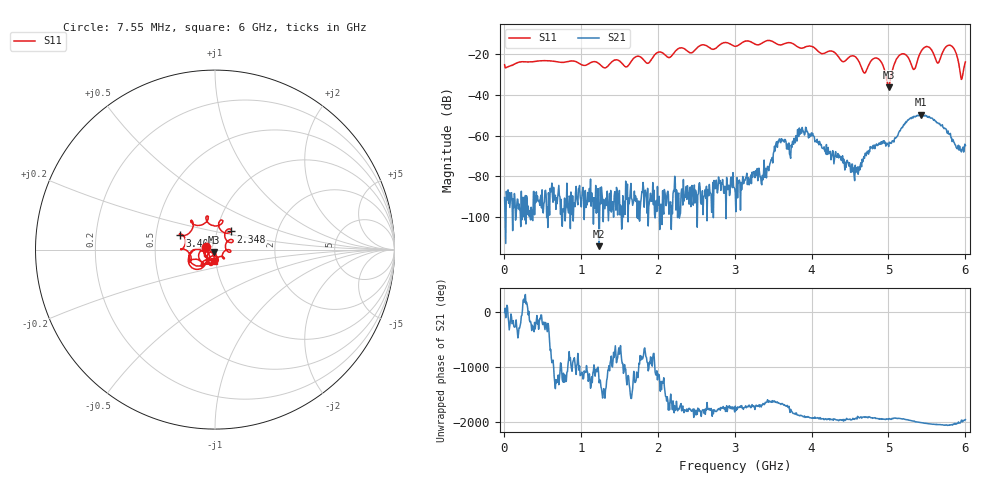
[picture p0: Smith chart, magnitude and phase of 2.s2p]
! NanoVNA-App by OneOfEleven et al v1.1.209 (+OD15)
! Date: 2024-07-30 12:38:50
! Start: 50kHz Stop: 6GHz Points: 801
! S-Parameter data: F S11 S21 S12 S22
# Hz S RI R 50
!  Frequency  S11_Real  S11_Imag  S21_Real  S21_Imag  S12_Real  S12_Imag  S22_Real  S22_Imag
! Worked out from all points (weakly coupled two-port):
!   800 points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, 7.55 MHz to 6 GHz, reference 50 ohm
!   highest |S21| = -49.65 dB at 5.423 GHz (marker M1); lowest = -114.2 dB at 1.238 GHz (marker M2)
!   lowest |S11| = -36.3 dB at 5.003 GHz (marker M3), VSWR 1.03, Z = 49.4 - j1.39 ohm
!   |S11| at or under -10 dB: start of sweep to end of sweep
!   S12 and S22 are empty: the file has one direction only
!   S11 on the Smith chart (normalised r, x): 7.55 MHz: 0.90, +0.03; 2.348 GHz: 1.17, +0.24; 3.405 GHz: 0.67, +0.11; 6 GHz: 0.98, -0.13
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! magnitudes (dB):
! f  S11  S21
! 7.55 MHz  -25.2  -90.3
! 1.013 GHz  -25.3  -90.3
! 1.238 GHz  -24.7  -114.2
! 2.01 GHz  -19.0  -91.1
! 2.348 GHz  -17.4  -89.9
! 3.008 GHz  -16.2  -87.9
! 3.405 GHz  -13.6  -76.0
! 3.563 GHz  -15.3  -62.6
! 3.705 GHz  -14.4  -63.6
! 3.848 GHz  -17.0  -59.4
! 4.005 GHz  -16.2  -60.2
! 4.583 GHz  -21.8  -75.9
! 4.688 GHz  -29.3  -71.1
! 4.868 GHz  -22.3  -64.6
! 5.003 GHz  -36.3  -65.4
! 5.138 GHz  -20.7  -58.1
! 5.333 GHz  -27.4  -50.5
! 5.423 GHz  -18.8  -49.6
! 5.648 GHz  -24.3  -54.0
! 5.805 GHz  -15.7  -58.9
! 5.948 GHz  -32.4  -68.0
! 6 GHz  -23.9  -64.8
